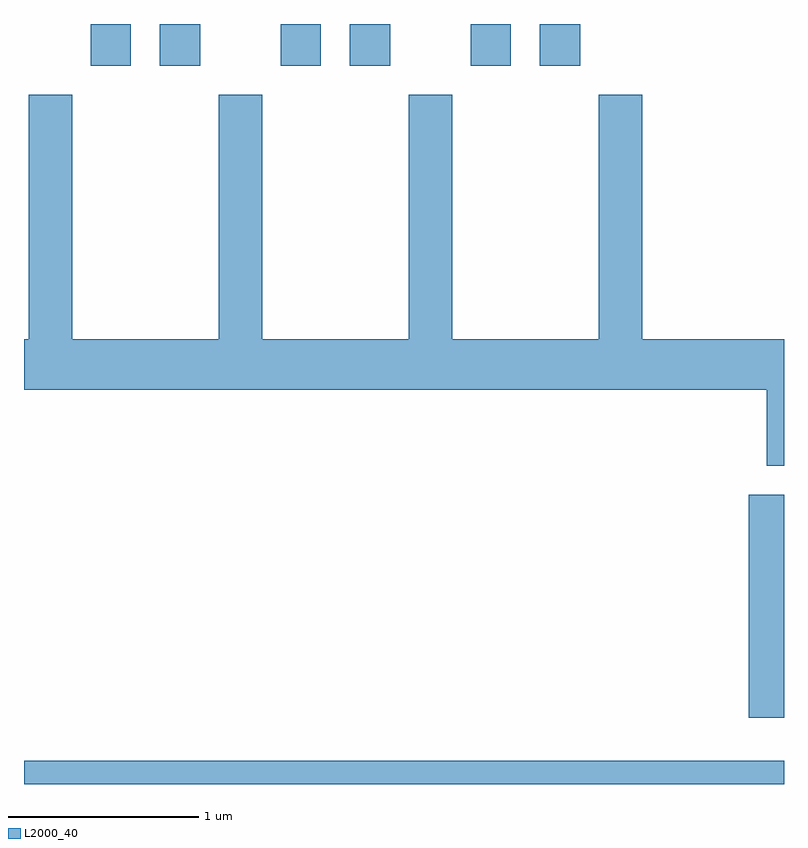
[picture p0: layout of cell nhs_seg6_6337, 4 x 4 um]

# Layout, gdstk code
import gdstk
lib = gdstk.Library(unit=1e-6, precision=1e-09)
def R(c, l, rs):  # rectangles x0, y0, x1, y1
    for r in rs: c.add(gdstk.rectangle(r[:2], r[2:], *l))
def P(c, l, *ps):  # polygons
    for p in ps: c.add(gdstk.Polygon(p, *l))
L2000_40 = (2000, 40)

nhs_seg6_6337 = lib.new_cell('nhs_seg6_6337')
R(nhs_seg6_6337, L2000_40, [(377.611,1570.162,381.611,1570.284), (381.426,1570.511,381.611,1571.684), (377.961,1573.941,378.174,1574.162), (378.326,1573.941,378.539,1574.162), (378.961,1573.941,379.174,1574.162), (379.326,1573.941,379.539,1574.162), (379.961,1573.941,380.174,1574.162), (380.326,1573.941,380.539,1574.162)])
P(nhs_seg6_6337, L2000_40, [(381.611,1572.504),(380.864,1572.504),(380.864,1573.789),(380.636,1573.789),(380.636,1572.504),(379.864,1572.504),(379.864,1573.789),(379.636,1573.789),(379.636,1572.504),(378.864,1572.504),(378.864,1573.789),(378.636,1573.789),(378.636,1572.504),(377.864,1572.504),(377.864,1573.789),(377.636,1573.789),(377.636,1572.504),(377.611,1572.504),(377.611,1572.236),(381.521,1572.236),(381.521,1571.836),(381.611,1571.836)])

lib.write_gds('nhs_seg6_6337.gds')
